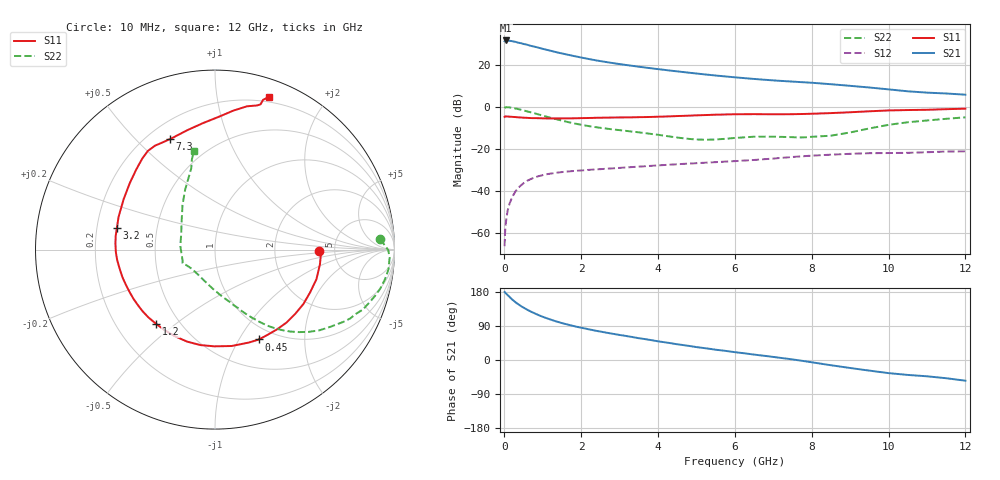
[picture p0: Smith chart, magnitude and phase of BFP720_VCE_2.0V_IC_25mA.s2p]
! Infineon Technologies  Discrete & RF Semiconductors
! BFP720
! VCE =  2.0 V,  IC =  25 mA
! Common Emitter S-Parameters:  Aug 2012
# GHz  S  MA  R  50
!  f  S11  S21  S12  S22
! GHz  MAG  ANG  MAG  ANG  MAG  ANG  MAG  ANG
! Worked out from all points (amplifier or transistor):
!   105 points, 10 MHz to 12 GHz, reference 50 ohm
!   highest |S21| = 31.4 dB at 50 MHz (marker M1)
!   |S21| within 3 dB of that: start of sweep to 802.5 MHz
!   unconditionally stable (mu >= 1): start of sweep to 17.14 MHz; 3.705 GHz to 10.62 GHz
!   at 300 MHz: K = 0.18, MSG = 35.3 dB, |S12| = -39.9 dB
!   at 3.6 GHz: K = 0.99, MSG = 23.5 dB, |S12| = -28.2 dB
!   at 12 GHz: K = 0.74, MSG = 13.4 dB, |S12| = -21.1 dB
!   S11 on the Smith chart (normalised r, x): 10 MHz: 3.73, -0.11; 450 MHz: 0.84, -1.22; 1.2 GHz: 0.37, -0.43; 3.2 GHz: 0.29, +0.10; 7.3 GHz: 0.29, +0.63; 12 GHz: 0.16, +1.40
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0.01  0.5773 -1.0  35.62 179.5  0.0005 63.7  0.9226 3.6
0.02  0.5904 -3.2  36.92 178.2  0.001 93.1  0.9654 -0.2
0.05  0.5904 -8.0  37.15 175.3  0.002 81.1  0.9739 -2.6
0.1  0.5889 -16.2  37.1 170.2  0.0038 82.1  0.9731 -6.4
0.2  0.5784 -31.6  35.77 160.3  0.007 75.9  0.9458 -13.3
0.25  0.5726 -38.9  35.05 156.1  0.0085 74.4  0.9272 -16.3
0.3  0.5692 -45.6  34.31 151.9  0.0101 71.6  0.9071 -19.2
0.45  0.5572 -64.0  31.74 141.3  0.0141 65.3  0.8462 -26.9
0.6  0.5452 -80.1  29.35 132.6  0.0177 59.3  0.7753 -33.6
0.8  0.5381 -98.7  26.33 122.7  0.0213 52.9  0.6958 -41.2
1  0.5318 -115.1  23.53 114.1  0.024 47.9  0.6191 -47.5
1.2  0.5281 -128.3  21.31 107.0  0.0261 43.8  0.5524 -52.6
1.6  0.5305 -148.9  17.52 94.8  0.029 38.3  0.4472 -60.2
2.1  0.5396 -166.3  14.08 83.2  0.0315 34.9  0.3615 -67.4
2.6  0.5524 -178.4  11.66 73.2  0.0338 33.2  0.3088 -73.5
3.2  0.5596 167.8  9.671 62.9  0.0367 32.0  0.2665 -80.7
4.1  0.5844 149.2  7.595 47.9  0.0414 30.4  0.2104 -95.9
6.1  0.6654 123.3  4.892 19.5  0.0522 26.0  0.185 -152.9
7.3  0.6653 112.2  4.046 4.2  0.0625 23.0  0.1926 -159.9
8.5  0.708 95.4  3.418 -13.8  0.0734 14.3  0.2064 155.9
10.5  0.8362 73.8  2.322 -39.4  0.0811 -0.3  0.4295 109.9
12  0.9008 70.6  1.932 -54.6  0.0881 -10.1  0.5625 102.0
